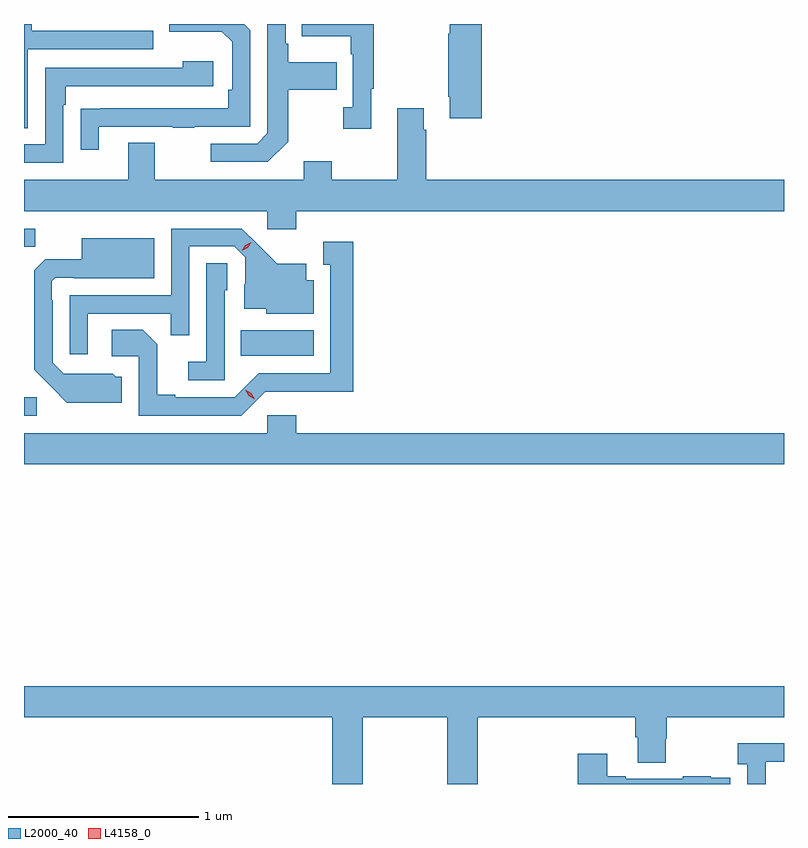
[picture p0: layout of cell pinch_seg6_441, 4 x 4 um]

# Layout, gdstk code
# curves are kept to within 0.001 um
import gdstk
lib = gdstk.Library(unit=1e-6, precision=1e-09)
def R(c, l, rs):  # rectangles x0, y0, x1, y1
    for r in rs: c.add(gdstk.rectangle(r[:2], r[2:], *l))
def P(c, l, *ps):  # polygons
    for p in ps: c.add(gdstk.Polygon(p, *l))
L2000_40 = (2000, 40)
L4158_0 = (4158, 0)

pinch_seg6_441 = lib.new_cell('pinch_seg6_441')
R(pinch_seg6_441, L2000_40, [(721.641,920.952,721.708,921.048), (722.782,921.266,723.166,921.4), (721.641,921.841,721.701,921.936)])
P(pinch_seg6_441, L2000_40, [(722.035,922.473),(722.425,922.473),(722.425,922.468),(722.537,922.468),(722.537,922.473),(722.832,922.473),(722.832,922.98),(722.799,923.013),(722.406,923.013),(722.406,922.973),(722.683,922.973),(722.736,922.92),(722.736,922.666),(722.716,922.666),(722.716,922.569),(721.939,922.568),(721.939,922.35),(722.035,922.35)],
  [(724.049,923.013),(723.881,923.013),(723.881,922.961),(723.874,922.961),(723.874,922.63),(723.881,922.63),(723.881,922.518),(724.049,922.518)],
  [(721.662,922.881),(722.321,922.881),(722.321,922.977),(721.681,922.977),(721.681,923.013),(721.641,923.013),(721.641,922.465),(721.662,922.465)],
  [(723.031,922.393),(723.031,922.666),(723.287,922.666),(723.287,922.813),(723.031,922.813),(723.031,922.909),(723.018,922.909),(723.018,923.013),(722.922,923.013),(722.922,922.437),(722.868,922.383),(722.625,922.383),(722.625,922.287),(722.925,922.287)],
  [(723.469,922.673),(723.481,922.673),(723.481,923.013),(723.103,923.013),(723.103,922.949),(723.36,922.949),(723.36,922.853),(723.372,922.853),(723.372,922.574),(723.321,922.574),(723.321,922.461),(723.469,922.461)],
  [(721.848,922.589),(721.861,922.589),(721.861,922.686),(722.638,922.686),(722.638,922.816),(722.477,922.816),(722.477,922.782),(721.752,922.782),(721.752,922.38),(721.641,922.38),(721.641,922.284),(721.848,922.284)],
  [(723.074,922.028),(725.641,922.028),(725.641,922.192),(723.758,922.192),(723.758,922.457),(723.745,922.457),(723.745,922.57),(723.605,922.57),(723.605,922.192),(723.261,922.192),(723.261,922.291),(723.113,922.291),(723.113,922.192),(722.329,922.192),(722.329,922.387),(722.189,922.387),(722.189,922.192),(721.641,922.192),(721.641,922.028),(722.922,922.028),(722.922,921.933),(723.074,921.933)],
  [(721.977,921.489),(722.413,921.489),(722.413,921.376),(722.511,921.376),(722.511,921.843),(722.748,921.843),(722.805,921.786),(722.805,921.644),(722.801,921.644),(722.801,921.515),(722.916,921.515),(722.916,921.488),(723.166,921.488),(723.166,921.664),(723.127,921.664),(723.127,921.751),(722.975,921.751),(722.788,921.936),(722.415,921.936),(722.415,921.585),(721.881,921.585),(721.881,921.276),(721.977,921.276)],
  [(722.155,921.156),(722.124,921.156),(722.108,921.172),(721.851,921.171),(721.791,921.231),(721.791,921.56),(721.788,921.56),(721.788,921.66),(721.806,921.678),(721.906,921.678),(721.906,921.674),(722.326,921.674),(722.326,921.886),(721.946,921.886),(721.946,921.775),(721.754,921.775),(721.695,921.716),(721.695,921.194),(721.867,921.02),(722.155,921.02)],
  [(722.91,921.078),(723.373,921.077),(723.373,921.868),(723.215,921.868),(723.215,921.747),(723.254,921.747),(723.254,921.174),(722.877,921.174),(722.751,921.048),(722.437,921.048),(722.437,921.061),(722.343,921.061),(722.343,921.328),(722.267,921.404),(722.103,921.404),(722.103,921.264),(722.244,921.264),(722.244,920.952),(722.784,920.952)],
  [(722.697,921.612),(722.712,921.612),(722.712,921.755),(722.601,921.755),(722.601,921.235),(722.505,921.235),(722.505,921.138),(722.697,921.138)],
  [(725.641,920.86),(723.074,920.86),(723.074,920.953),(722.922,920.953),(722.922,920.86),(721.641,920.86),(721.641,920.696),(725.641,920.696)],
  [(723.423,919.364),(723.868,919.364),(723.868,919.013),(724.028,919.013),(724.028,919.364),(724.859,919.364),(724.859,919.258),(724.871,919.258),(724.871,919.126),(725.019,919.126),(725.019,919.251),(725.024,919.251),(725.024,919.364),(725.641,919.364),(725.641,919.528),(721.641,919.528),(721.641,919.364),(723.263,919.364),(723.263,919.013),(723.423,919.013)],
  [(725.545,919.131),(725.641,919.131),(725.641,919.228),(725.397,919.228),(725.397,919.118),(725.448,919.118),(725.448,919.013),(725.545,919.013)],
  [(725.357,919.047),(725.255,919.047),(725.255,919.054),(725.107,919.054),(725.107,919.041),(724.807,919.041),(724.807,919.054),(724.711,919.054),(724.711,919.171),(724.555,919.171),(724.555,919.013),(725.357,919.013)])
P(pinch_seg6_441, L4158_0, [(722.855,921.037),(722.823,921.056),(722.806,921.089),(722.806,921.089),(722.806,921.089),(722.838,921.07),(722.855,921.038),(722.855,921.037)],
  [(722.788,921.819),(722.788,921.82),(722.805,921.849),(722.836,921.865),(722.836,921.865),(722.836,921.864),(722.819,921.835),(722.788,921.819)])

lib.write_gds('pinch_seg6_441.gds')
